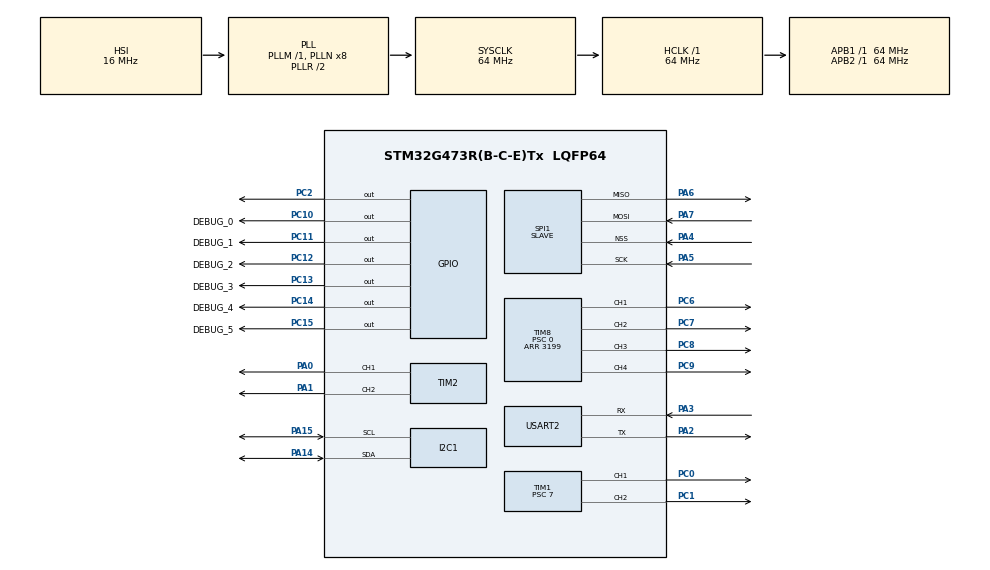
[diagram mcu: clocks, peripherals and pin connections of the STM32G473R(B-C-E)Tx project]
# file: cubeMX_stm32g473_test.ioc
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Dma.Request0=USART2_RX
Dma.Request1=SPI1_RX
Dma.SPI1_RX.1.Direction=DMA_PERIPH_TO_MEMORY
Dma.SPI1_RX.1.EventEnable=DISABLE
Dma.SPI1_RX.1.Instance=DMA1_Channel2
Dma.SPI1_RX.1.MemDataAlignment=DMA_MDATAALIGN_BYTE
Dma.SPI1_RX.1.MemInc=DMA_MINC_ENABLE
Dma.SPI1_RX.1.Mode=DMA_NORMAL
Dma.SPI1_RX.1.PeriphDataAlignment=DMA_PDATAALIGN_BYTE
Dma.SPI1_RX.1.PeriphInc=DMA_PINC_DISABLE
Dma.SPI1_RX.1.Polarity=HAL_DMAMUX_REQ_GEN_RISING
Dma.SPI1_RX.1.Priority=DMA_PRIORITY_LOW
Dma.SPI1_RX.1.RequestNumber=1
Dma.SPI1_RX.1.SignalID=NONE
Dma.SPI1_RX.1.SyncEnable=DISABLE
Dma.SPI1_RX.1.SyncPolarity=HAL_DMAMUX_SYNC_NO_EVENT
Dma.SPI1_RX.1.SyncRequestNumber=1
Dma.SPI1_RX.1.SyncSignalID=NONE
Dma.USART2_RX.0.Direction=DMA_PERIPH_TO_MEMORY
Dma.USART2_RX.0.EventEnable=DISABLE
Dma.USART2_RX.0.Instance=DMA1_Channel1
Dma.USART2_RX.0.MemDataAlignment=DMA_MDATAALIGN_BYTE
Dma.USART2_RX.0.MemInc=DMA_MINC_ENABLE
Dma.USART2_RX.0.Mode=DMA_NORMAL
Dma.USART2_RX.0.PeriphDataAlignment=DMA_PDATAALIGN_BYTE
Dma.USART2_RX.0.PeriphInc=DMA_PINC_DISABLE
Dma.USART2_RX.0.Polarity=HAL_DMAMUX_REQ_GEN_RISING
Dma.USART2_RX.0.Priority=DMA_PRIORITY_LOW
Dma.USART2_RX.0.RequestNumber=1
Dma.USART2_RX.0.SignalID=NONE
Dma.USART2_RX.0.SyncEnable=DISABLE
Dma.USART2_RX.0.SyncPolarity=HAL_DMAMUX_SYNC_NO_EVENT
Dma.USART2_RX.0.SyncRequestNumber=1
Dma.USART2_RX.0.SyncSignalID=NONE
IWDG.Prescaler=IWDG_PRESCALER_64
Mcu.Family=STM32G4
Mcu.Name=STM32G473R(B-C-E)Tx
Mcu.Package=LQFP64
NVIC.DMA1_Channel1_IRQn=true\:0\:0\:false\:false\:true\:false\:true\:true
NVIC.DMA1_Channel2_IRQn=true\:0\:0\:false\:false\:true\:false\:true\:true
NVIC.PriorityGroup=NVIC_PRIORITYGROUP_4
NVIC.SPI1_IRQn=true\:0\:0\:false\:false\:true\:true\:true\:true
NVIC.USART2_IRQn=true\:0\:0\:false\:false\:true\:true\:true\:true
PA0.Signal=S_TIM2_CH1
PA1.Signal=S_TIM2_CH2
PA2.Mode=Asynchronous
PA2.Signal=USART2_TX
PA3.Mode=Asynchronous
PA3.Signal=USART2_RX
PA4.Mode=NSS_Signal_Hard_Input
PA4.Signal=SPI1_NSS
PA5.Mode=Full_Duplex_Slave
PA5.Signal=SPI1_SCK
PA6.Mode=Full_Duplex_Slave
PA6.Signal=SPI1_MISO
PA7.Mode=Full_Duplex_Slave
PA7.Signal=SPI1_MOSI
PA14.Mode=I2C
PA14.Signal=I2C1_SDA
PA15.Mode=I2C
PA15.Signal=I2C1_SCL
PC0.Signal=S_TIM1_CH1
PC1.Signal=S_TIM1_CH2
PC10.GPIO_Label=DEBUG_0
PC10.Signal=GPIO_Output
PC11.GPIO_Label=DEBUG_1
PC11.Signal=GPIO_Output
PC12.GPIO_Label=DEBUG_2
PC12.Signal=GPIO_Output
PC13.GPIO_Label=DEBUG_3
PC13.Signal=GPIO_Output
PC14-OSC32_IN.GPIO_Label=DEBUG_4
PC14-OSC32_IN.Signal=GPIO_Output
PC15-OSC32_OUT.GPIO_Label=DEBUG_5
PC15-OSC32_OUT.Signal=GPIO_Output
PC2.Signal=GPIO_Output
PC6.Signal=S_TIM8_CH1
PC7.Signal=S_TIM8_CH2
PC8.Signal=S_TIM8_CH3
PC9.Signal=S_TIM8_CH4
ProjectManager.HeapSize=0x200
ProjectManager.StackSize=0x400
ProjectManager.TargetToolchain=CMake
RCC.ADC12Freq_Value=64000000
RCC.ADC345Freq_Value=64000000
RCC.AHBFreq_Value=64000000
RCC.APB1Freq_Value=64000000
RCC.APB1TimFreq_Value=64000000
RCC.APB2Freq_Value=64000000
RCC.APB2TimFreq_Value=64000000
RCC.CortexFreq_Value=64000000
RCC.EXTERNAL_CLOCK_VALUE=12288000
RCC.HCLKFreq_Value=64000000
RCC.HSE_VALUE=16000000
RCC.HSI48_VALUE=48000000
RCC.HSI_VALUE=16000000
I2C1.Timing=0x3052474F
RCC.LSE_VALUE=32768
RCC.SYSCLKFreq_VALUE=64000000
RCC.SYSCLKSource=RCC_SYSCLKSOURCE_PLLCLK
RCC.USBFreq_Value=64000000
RCC.VCOOutputFreq_Value=128000000
SH.S_TIM1_CH1.0=TIM1_CH1,PWM Generation1 CH1
SH.S_TIM1_CH2.0=TIM1_CH2,PWM Generation2 CH2
SH.S_TIM2_CH1.0=TIM2_CH1,PWM Generation1 CH1
SH.S_TIM2_CH2.0=TIM2_CH2,PWM Generation2 CH2
SH.S_TIM8_CH1.0=TIM8_CH1,PWM Generation1 CH1
SH.S_TIM8_CH2.0=TIM8_CH2,PWM Generation2 CH2
SH.S_TIM8_CH3.0=TIM8_CH3,PWM Generation3 CH3
SH.S_TIM8_CH4.0=TIM8_CH4,PWM Generation4 CH4
SPI1.CLKPhase=SPI_PHASE_1EDGE
SPI1.CLKPolarity=SPI_POLARITY_LOW
SPI1.DataSize=SPI_DATASIZE_8BIT
SPI1.Direction=SPI_DIRECTION_2LINES
SPI1.Mode=SPI_MODE_SLAVE
SPI1.VirtualNSS=VM_NSSHARD
SPI1.VirtualType=VM_SLAVE
TIM1.Channel-PWM\ Generation1\ CH1=TIM_CHANNEL_1
TIM1.Channel-PWM\ Generation2\ CH2=TIM_CHANNEL_2
TIM1.OC1Preload_PWM=DISABLE
TIM1.PeriodNoDither=999
TIM1.Prescaler=7
TIM2.Channel-PWM\ Generation1\ CH1=TIM_CHANNEL_1
TIM2.Channel-PWM\ Generation2\ CH2=TIM_CHANNEL_2
TIM8.Channel-PWM\ Generation1\ CH1=TIM_CHANNEL_1
TIM8.Channel-PWM\ Generation2\ CH2=TIM_CHANNEL_2
TIM8.Channel-PWM\ Generation3\ CH3=TIM_CHANNEL_3
TIM8.Channel-PWM\ Generation4\ CH4=TIM_CHANNEL_4
TIM8.PeriodNoDither=3199
TIM8.Prescaler=0
USART2.VirtualMode-Asynchronous=VM_ASYNC
VP_IWDG_VS_IWDG.Mode=IWDG_Activate
VP_SYS_VS_DBSignals.Mode=DisableDeadBatterySignals
board=custom

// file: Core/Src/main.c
/* USER CODE BEGIN Header */
/**
  ******************************************************************************
  * @file           : main.c
  * @brief          : Main program body
  ******************************************************************************
  * @attention
  *
  * Copyright (c) 2026 STMicroelectronics.
  * All rights reserved.
  *
  * This software is licensed under terms that can be found in the LICENSE file
  * in the root directory of this software component.
  * If no LICENSE file comes with this software, it is provided AS-IS.
  *
  ******************************************************************************
  */
/* USER CODE END Header */
#include "main.h"

/* USER CODE BEGIN Includes */
#include "config.h"
#include "packet.h"
#include "uart_comm.h"
#include "spi_comm.h"
#include "debug_led.h"
#include "led_control.h"
#include "motor_hbridge.h"
#include "external_sensors.h"
/* USER CODE END Includes */

IWDG_HandleTypeDef hiwdg;

I2C_HandleTypeDef hi2c1;

SPI_HandleTypeDef hspi1;
DMA_HandleTypeDef hdma_spi1_rx;

TIM_HandleTypeDef htim1;
TIM_HandleTypeDef htim2;
TIM_HandleTypeDef htim8;

UART_HandleTypeDef huart2;
DMA_HandleTypeDef hdma_usart2_rx;

void SystemClock_Config(void);
static void MX_GPIO_Init(void);
static void MX_DMA_Init(void);
static void MX_USART2_UART_Init(void);
static void MX_SPI1_Init(void);
static void MX_I2C1_Init(void);
static void MX_IWDG_Init(void);
static void MX_TIM1_Init(void);
static void MX_TIM2_Init(void);
static void MX_TIM8_Init(void);

int main(void)
{

  /* MCU Configuration--------------------------------------------------------*/

  /* Reset of all peripherals, Initializes the Flash interface and the Systick. */
  HAL_Init();

  /* Configure the system clock */
  SystemClock_Config();

  /* Initialize all configured peripherals */
  MX_GPIO_Init();
  MX_DMA_Init();
  MX_USART2_UART_Init();
  MX_SPI1_Init();
  MX_I2C1_Init();
  MX_IWDG_Init();
  MX_TIM1_Init();
  MX_TIM2_Init();
  MX_TIM8_Init();
  /* USER CODE BEGIN 2 */
	/*
	 * 独自機能の初期化順:
	 * 状態LED -> SPIスレーブ -> ヘッドライト -> Hブリッジ -> I2Cセンサー。
	 */
	DebugLed_Init();
	LED_Init(&htim2);
	HBridge_Init(&htim8);
	HAL_NVIC_SetPriority(SysTick_IRQn, 0U, 0U);
	SPI_Slave_Init(&hspi1);
	ExternalSensors_Init(&hi2c1);
	DebugLed_Set(0x01, DBG_LED_BLINK_4HZ);  /* LED0: メインループ動作中。 */
	GPIOC->BSRR = PIN_DBG_LED1;             /* LED1: 全初期化完了。 */
  /* USER CODE END 2 */

  /* Infinite loop */
  while (1)
  {

    /* USER CODE BEGIN 3 */
	/* 各機能は待ち時間を持たず、必要な周期になったときだけ内部処理する。 */
	SPI_Slave_Poll();
	DebugLed_Update();
	LED_Update();
	ExternalSensors_Poll(HAL_GetTick());
	HAL_IWDG_Refresh(&hiwdg);
  }
  /* USER CODE END 3 */
}

void SystemClock_Config(void)
{
  RCC_OscInitTypeDef RCC_OscInitStruct = {0};
  RCC_ClkInitTypeDef RCC_ClkInitStruct = {0};

  /** Configure the main internal regulator output voltage
  */
  HAL_PWREx_ControlVoltageScaling(PWR_REGULATOR_VOLTAGE_SCALE1);

  /** Initializes the RCC Oscillators according to the specified parameters
  * in the RCC_OscInitTypeDef structure.
  */
  RCC_OscInitStruct.OscillatorType = RCC_OSCILLATORTYPE_HSI|RCC_OSCILLATORTYPE_LSI;
  RCC_OscInitStruct.HSIState = RCC_HSI_ON;
  RCC_OscInitStruct.HSICalibrationValue = RCC_HSICALIBRATION_DEFAULT;
  RCC_OscInitStruct.LSIState = RCC_LSI_ON;
  RCC_OscInitStruct.PLL.PLLState = RCC_PLL_ON;
  RCC_OscInitStruct.PLL.PLLSource = RCC_PLLSOURCE_HSI;
  RCC_OscInitStruct.PLL.PLLM = RCC_PLLM_DIV1;
  RCC_OscInitStruct.PLL.PLLN = 8;
  RCC_OscInitStruct.PLL.PLLP = RCC_PLLP_DIV2;
  RCC_OscInitStruct.PLL.PLLQ = RCC_PLLQ_DIV2;
  RCC_OscInitStruct.PLL.PLLR = RCC_PLLR_DIV2;
  if (HAL_RCC_OscConfig(&RCC_OscInitStruct) != HAL_OK)
  {
    Error_Handler();
  }

  /** Initializes the CPU, AHB and APB buses clocks
  */
  RCC_ClkInitStruct.ClockType = RCC_CLOCKTYPE_HCLK|RCC_CLOCKTYPE_SYSCLK
                              |RCC_CLOCKTYPE_PCLK1|RCC_CLOCKTYPE_PCLK2;
  RCC_ClkInitStruct.SYSCLKSource = RCC_SYSCLKSOURCE_PLLCLK;
  RCC_ClkInitStruct.AHBCLKDivider = RCC_SYSCLK_DIV1;
  RCC_ClkInitStruct.APB1CLKDivider = RCC_HCLK_DIV1;
  RCC_ClkInitStruct.APB2CLKDivider = RCC_HCLK_DIV1;

  if (HAL_RCC_ClockConfig(&RCC_ClkInitStruct, FLASH_LATENCY_2) != HAL_OK)
  {
    Error_Handler();
  }
}

/**
  * @brief ICM-20948とBMP280で共有するI2C1を初期化する。
  * @param なし。
  * @retval なし。
  */
static void MX_I2C1_Init(void)
{
  hi2c1.Instance = I2C1;
  hi2c1.Init.Timing = 0x3052474F;
  hi2c1.Init.OwnAddress1 = 0;
  hi2c1.Init.AddressingMode = I2C_ADDRESSINGMODE_7BIT;
  hi2c1.Init.DualAddressMode = I2C_DUALADDRESS_DISABLE;
  hi2c1.Init.OwnAddress2 = 0;
  hi2c1.Init.OwnAddress2Masks = I2C_OA2_NOMASK;
  hi2c1.Init.GeneralCallMode = I2C_GENERALCALL_DISABLE;
  hi2c1.Init.NoStretchMode = I2C_NOSTRETCH_DISABLE;
  if (HAL_I2C_Init(&hi2c1) != HAL_OK)
  {
    Error_Handler();
  }
  if (HAL_I2CEx_ConfigAnalogFilter(&hi2c1, I2C_ANALOGFILTER_ENABLE) != HAL_OK)
  {
    Error_Handler();
  }
  if (HAL_I2CEx_ConfigDigitalFilter(&hi2c1, 0) != HAL_OK)
  {
    Error_Handler();
  }
}

static void MX_IWDG_Init(void)
{

  hiwdg.Instance = IWDG;
  hiwdg.Init.Prescaler = IWDG_PRESCALER_64;
  hiwdg.Init.Window = 4095;
  hiwdg.Init.Reload = 4095;
  if (HAL_IWDG_Init(&hiwdg) != HAL_OK)
  {
    Error_Handler();
  }

}

static void MX_SPI1_Init(void)
{

  /* SPI1 parameter configuration*/
  hspi1.Instance = SPI1;
  hspi1.Init.Mode = SPI_MODE_SLAVE;
  hspi1.Init.Direction = SPI_DIRECTION_2LINES;
  hspi1.Init.DataSize = SPI_DATASIZE_8BIT;
  hspi1.Init.CLKPolarity = SPI_POLARITY_LOW;
  hspi1.Init.CLKPhase = SPI_PHASE_1EDGE;
  hspi1.Init.NSS = SPI_NSS_HARD_INPUT;
  hspi1.Init.FirstBit = SPI_FIRSTBIT_MSB;
  hspi1.Init.TIMode = SPI_TIMODE_DISABLE;
  hspi1.Init.CRCCalculation = SPI_CRCCALCULATION_DISABLE;
  hspi1.Init.CRCPolynomial = 7;
  hspi1.Init.CRCLength = SPI_CRC_LENGTH_DATASIZE;
  hspi1.Init.NSSPMode = SPI_NSS_PULSE_DISABLE;
  if (HAL_SPI_Init(&hspi1) != HAL_OK)
  {
    Error_Handler();
  }

}

static void MX_TIM1_Init(void)
{

  TIM_MasterConfigTypeDef sMasterConfig = {0};
  TIM_OC_InitTypeDef sConfigOC = {0};
  TIM_BreakDeadTimeConfigTypeDef sBreakDeadTimeConfig = {0};

  htim1.Instance = TIM1;
  htim1.Init.Prescaler = 7;
  htim1.Init.CounterMode = TIM_COUNTERMODE_UP;
  htim1.Init.Period = 999;
  htim1.Init.ClockDivision = TIM_CLOCKDIVISION_DIV1;
  htim1.Init.RepetitionCounter = 0;
  htim1.Init.AutoReloadPreload = TIM_AUTORELOAD_PRELOAD_DISABLE;
  if (HAL_TIM_PWM_Init(&htim1) != HAL_OK)
  {
    Error_Handler();
  }
  sMasterConfig.MasterOutputTrigger = TIM_TRGO_RESET;
  sMasterConfig.MasterOutputTrigger2 = TIM_TRGO2_RESET;
  sMasterConfig.MasterSlaveMode = TIM_MASTERSLAVEMODE_DISABLE;
  if (HAL_TIMEx_MasterConfigSynchronization(&htim1, &sMasterConfig) != HAL_OK)
  {
    Error_Handler();
  }
  sConfigOC.OCMode = TIM_OCMODE_PWM1;
  sConfigOC.Pulse = 0;
  sConfigOC.OCPolarity = TIM_OCPOLARITY_HIGH;
  sConfigOC.OCNPolarity = TIM_OCNPOLARITY_HIGH;
  sConfigOC.OCFastMode = TIM_OCFAST_DISABLE;
  sConfigOC.OCIdleState = TIM_OCIDLESTATE_RESET;
  sConfigOC.OCNIdleState = TIM_OCNIDLESTATE_RESET;
  if (HAL_TIM_PWM_ConfigChannel(&htim1, &sConfigOC, TIM_CHANNEL_1) != HAL_OK)
  {
    Error_Handler();
  }
  __HAL_TIM_DISABLE_OCxPRELOAD(&htim1, TIM_CHANNEL_1);
  if (HAL_TIM_PWM_ConfigChannel(&htim1, &sConfigOC, TIM_CHANNEL_2) != HAL_OK)
  {
    Error_Handler();
  }
  sBreakDeadTimeConfig.OffStateRunMode = TIM_OSSR_DISABLE;
  sBreakDeadTimeConfig.OffStateIDLEMode = TIM_OSSI_DISABLE;
  sBreakDeadTimeConfig.LockLevel = TIM_LOCKLEVEL_OFF;
  sBreakDeadTimeConfig.DeadTime = 0;
  sBreakDeadTimeConfig.BreakState = TIM_BREAK_DISABLE;
  sBreakDeadTimeConfig.BreakPolarity = TIM_BREAKPOLARITY_HIGH;
  sBreakDeadTimeConfig.BreakFilter = 0;
  sBreakDeadTimeConfig.BreakAFMode = TIM_BREAK_AFMODE_INPUT;
  sBreakDeadTimeConfig.Break2State = TIM_BREAK2_DISABLE;
  sBreakDeadTimeConfig.Break2Polarity = TIM_BREAK2POLARITY_HIGH;
  sBreakDeadTimeConfig.Break2Filter = 0;
  sBreakDeadTimeConfig.Break2AFMode = TIM_BREAK_AFMODE_INPUT;
  sBreakDeadTimeConfig.AutomaticOutput = TIM_AUTOMATICOUTPUT_DISABLE;
  if (HAL_TIMEx_ConfigBreakDeadTime(&htim1, &sBreakDeadTimeConfig) != HAL_OK)
  {
    Error_Handler();
  }
  HAL_TIM_MspPostInit(&htim1);

}

static void MX_TIM2_Init(void)
{

  TIM_MasterConfigTypeDef sMasterConfig = {0};
  TIM_OC_InitTypeDef sConfigOC = {0};

  htim2.Instance = TIM2;
  htim2.Init.Prescaler = 0;
  htim2.Init.CounterMode = TIM_COUNTERMODE_UP;
  htim2.Init.Period = 4294967295;
  htim2.Init.ClockDivision = TIM_CLOCKDIVISION_DIV1;
  htim2.Init.AutoReloadPreload = TIM_AUTORELOAD_PRELOAD_DISABLE;
  if (HAL_TIM_PWM_Init(&htim2) != HAL_OK)
  {
    Error_Handler();
  }
  sMasterConfig.MasterOutputTrigger = TIM_TRGO_RESET;
  sMasterConfig.MasterSlaveMode = TIM_MASTERSLAVEMODE_DISABLE;
  if (HAL_TIMEx_MasterConfigSynchronization(&htim2, &sMasterConfig) != HAL_OK)
  {
    Error_Handler();
  }
  sConfigOC.OCMode = TIM_OCMODE_PWM1;
  sConfigOC.Pulse = 0;
  sConfigOC.OCPolarity = TIM_OCPOLARITY_HIGH;
  sConfigOC.OCFastMode = TIM_OCFAST_DISABLE;
  if (HAL_TIM_PWM_ConfigChannel(&htim2, &sConfigOC, TIM_CHANNEL_1) != HAL_OK)
  {
    Error_Handler();
  }
  if (HAL_TIM_PWM_ConfigChannel(&htim2, &sConfigOC, TIM_CHANNEL_2) != HAL_OK)
  {
    Error_Handler();
  }
  HAL_TIM_MspPostInit(&htim2);

}

/**
  * @brief Hブリッジ4入力へ出すTIM8 PWMを初期化する。
  * @param なし。
  * @retval なし。
  */
static void MX_TIM8_Init(void)
{

  TIM_MasterConfigTypeDef sMasterConfig = {0};
  TIM_OC_InitTypeDef sConfigOC = {0};
  TIM_BreakDeadTimeConfigTypeDef sBreakDeadTimeConfig = {0};

  htim8.Instance = TIM8;
  htim8.Init.Prescaler = 0;
  htim8.Init.CounterMode = TIM_COUNTERMODE_UP;
  htim8.Init.Period = 3199;
  htim8.Init.ClockDivision = TIM_CLOCKDIVISION_DIV1;
  htim8.Init.RepetitionCounter = 0;
  htim8.Init.AutoReloadPreload = TIM_AUTORELOAD_PRELOAD_DISABLE;
  if (HAL_TIM_PWM_Init(&htim8) != HAL_OK)
  {
    Error_Handler();
  }
  sMasterConfig.MasterOutputTrigger = TIM_TRGO_RESET;
  sMasterConfig.MasterOutputTrigger2 = TIM_TRGO2_RESET;
  sMasterConfig.MasterSlaveMode = TIM_MASTERSLAVEMODE_DISABLE;
  if (HAL_TIMEx_MasterConfigSynchronization(&htim8, &sMasterConfig) != HAL_OK)
  {
    Error_Handler();
  }
  sConfigOC.OCMode = TIM_OCMODE_PWM1;
  sConfigOC.Pulse = 0;
  sConfigOC.OCPolarity = TIM_OCPOLARITY_HIGH;
  sConfigOC.OCNPolarity = TIM_OCNPOLARITY_HIGH;
  sConfigOC.OCFastMode = TIM_OCFAST_DISABLE;
  sConfigOC.OCIdleState = TIM_OCIDLESTATE_RESET;
  sConfigOC.OCNIdleState = TIM_OCNIDLESTATE_RESET;
  if (HAL_TIM_PWM_ConfigChannel(&htim8, &sConfigOC, TIM_CHANNEL_1) != HAL_OK)
  {
    Error_Handler();
  }
  if (HAL_TIM_PWM_ConfigChannel(&htim8, &sConfigOC, TIM_CHANNEL_2) != HAL_OK)
  {
    Error_Handler();
  }
  if (HAL_TIM_PWM_ConfigChannel(&htim8, &sConfigOC, TIM_CHANNEL_3) != HAL_OK)
  {
    Error_Handler();
  }
  if (HAL_TIM_PWM_ConfigChannel(&htim8, &sConfigOC, TIM_CHANNEL_4) != HAL_OK)
  {
    Error_Handler();
  }
  sBreakDeadTimeConfig.OffStateRunMode = TIM_OSSR_DISABLE;
  sBreakDeadTimeConfig.OffStateIDLEMode = TIM_OSSI_DISABLE;
  sBreakDeadTimeConfig.LockLevel = TIM_LOCKLEVEL_OFF;
  sBreakDeadTimeConfig.DeadTime = 0;
  sBreakDeadTimeConfig.BreakState = TIM_BREAK_DISABLE;
  sBreakDeadTimeConfig.BreakPolarity = TIM_BREAKPOLARITY_HIGH;
  sBreakDeadTimeConfig.BreakFilter = 0;
  sBreakDeadTimeConfig.BreakAFMode = TIM_BREAK_AFMODE_INPUT;
  sBreakDeadTimeConfig.Break2State = TIM_BREAK2_DISABLE;
  sBreakDeadTimeConfig.Break2Polarity = TIM_BREAKPOLARITY_HIGH;
  sBreakDeadTimeConfig.Break2Filter = 0;
  sBreakDeadTimeConfig.Break2AFMode = TIM_BREAK_AFMODE_INPUT;
  sBreakDeadTimeConfig.AutomaticOutput = TIM_AUTOMATICOUTPUT_DISABLE;
  if (HAL_TIMEx_ConfigBreakDeadTime(&htim8, &sBreakDeadTimeConfig) != HAL_OK)
  {
    Error_Handler();
  }
  HAL_TIM_MspPostInit(&htim8);

}

static void MX_USART2_UART_Init(void)
{

  huart2.Instance = USART2;
  huart2.Init.BaudRate = 115200;
  huart2.Init.WordLength = UART_WORDLENGTH_8B;
  huart2.Init.StopBits = UART_STOPBITS_1;
  huart2.Init.Parity = UART_PARITY_NONE;
  huart2.Init.Mode = UART_MODE_TX_RX;
  huart2.Init.HwFlowCtl = UART_HWCONTROL_NONE;
  huart2.Init.OverSampling = UART_OVERSAMPLING_16;
  huart2.Init.OneBitSampling = UART_ONE_BIT_SAMPLE_DISABLE;
  huart2.Init.ClockPrescaler = UART_PRESCALER_DIV1;
  huart2.AdvancedInit.AdvFeatureInit = UART_ADVFEATURE_NO_INIT;
  if (HAL_UART_Init(&huart2) != HAL_OK)
  {
    Error_Handler();
  }
  if (HAL_UARTEx_SetTxFifoThreshold(&huart2, UART_TXFIFO_THRESHOLD_1_8) != HAL_OK)
  {
    Error_Handler();
  }
  if (HAL_UARTEx_SetRxFifoThreshold(&huart2, UART_RXFIFO_THRESHOLD_1_8) != HAL_OK)
  {
    Error_Handler();
  }
  if (HAL_UARTEx_DisableFifoMode(&huart2) != HAL_OK)
  {
    Error_Handler();
  }

}

static void MX_DMA_Init(void)
{

  /* DMA controller clock enable */
  __HAL_RCC_DMAMUX1_CLK_ENABLE();
  __HAL_RCC_DMA1_CLK_ENABLE();

  /* DMA interrupt init */
  /* DMA1_Channel1_IRQn interrupt configuration */
  HAL_NVIC_SetPriority(DMA1_Channel1_IRQn, 0, 0);
  HAL_NVIC_EnableIRQ(DMA1_Channel1_IRQn);
  /* DMA1_Channel2_IRQn interrupt configuration */
  HAL_NVIC_SetPriority(DMA1_Channel2_IRQn, 0, 0);
  HAL_NVIC_EnableIRQ(DMA1_Channel2_IRQn);

}

static void MX_GPIO_Init(void)
{
  GPIO_InitTypeDef GPIO_InitStruct = {0};

  /* GPIO Ports Clock Enable */
  __HAL_RCC_GPIOC_CLK_ENABLE();
  __HAL_RCC_GPIOA_CLK_ENABLE();

  /*Configure GPIO pin Output Level */
  HAL_GPIO_WritePin(GPIOC, DEBUG_3_Pin|DEBUG_4_Pin|DEBUG_5_Pin|GPIO_PIN_2
                          |DEBUG_0_Pin|DEBUG_1_Pin|DEBUG_2_Pin, GPIO_PIN_RESET);

  /*Configure GPIO pins : DEBUG_3_Pin DEBUG_4_Pin DEBUG_5_Pin PC2
                           DEBUG_0_Pin DEBUG_1_Pin DEBUG_2_Pin */
  GPIO_InitStruct.Pin = DEBUG_3_Pin|DEBUG_4_Pin|DEBUG_5_Pin|GPIO_PIN_2
                          |DEBUG_0_Pin|DEBUG_1_Pin|DEBUG_2_Pin;
  GPIO_InitStruct.Mode = GPIO_MODE_OUTPUT_PP;
  GPIO_InitStruct.Pull = GPIO_NOPULL;
  GPIO_InitStruct.Speed = GPIO_SPEED_FREQ_LOW;
  HAL_GPIO_Init(GPIOC, &GPIO_InitStruct);

}

/* USER CODE BEGIN 4 */
/**
 * @brief USART2のIDLE受信通知をUART管理モジュールへ渡す。
 * @param huart 通知元UART。
 * @param Size DMAで受信したbyte数。
 * @return なし。
 */
void HAL_UARTEx_RxEventCallback(UART_HandleTypeDef *huart, uint16_t Size)
{
    if (huart->Instance == USART2) {
        UART_RxEventCallback(Size);
    }
}

/**
 * @brief 旧SPI DMA受信完了通知を互換コールバックへ渡す。
 * @param hspi 通知元SPI。
 * @return なし。
 */
void HAL_SPI_RxCpltCallback(SPI_HandleTypeDef *hspi)
{
    if (hspi->Instance == SPI1) {
        SPI_Slave_RxCompleteCallback();
    }
}
/* USER CODE END 4 */

void Error_Handler(void)
{
  /* USER CODE BEGIN Error_Handler_Debug */
  /* 復帰できない初期化エラーでは割り込みを止め、安全に停止する。 */
  __disable_irq();
  while (1)
  {
  }
  /* USER CODE END Error_Handler_Debug */
}
